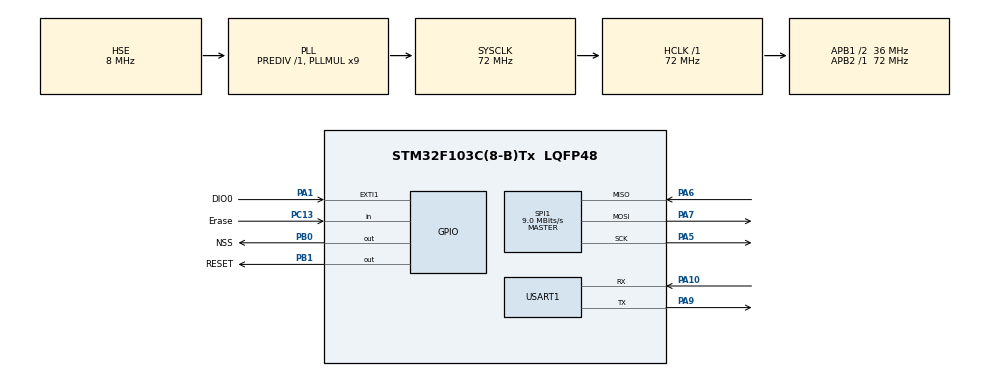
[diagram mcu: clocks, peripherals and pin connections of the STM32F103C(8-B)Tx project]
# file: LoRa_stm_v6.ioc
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Mcu.Family=STM32F1
Mcu.Name=STM32F103C(8-B)Tx
Mcu.Package=LQFP48
NVIC.PriorityGroup=NVIC_PRIORITYGROUP_4
PA1.GPIO_Label=DIO0
PA1.Signal=GPXTI1
PA10.Mode=Asynchronous
PA10.Signal=USART1_RX
PA13.Mode=Serial_Wire
PA13.Signal=SYS_JTMS-SWDIO
PA14.Mode=Serial_Wire
PA14.Signal=SYS_JTCK-SWCLK
PA5.Mode=Full_Duplex_Master
PA5.Signal=SPI1_SCK
PA6.Mode=Full_Duplex_Master
PA6.Signal=SPI1_MISO
PA7.Mode=Full_Duplex_Master
PA7.Signal=SPI1_MOSI
PA9.Mode=Asynchronous
PA9.Signal=USART1_TX
PB0.GPIO_Label=NSS
PB0.PinState=GPIO_PIN_SET
PB0.Signal=GPIO_Output
PB1.GPIO_Label=RESET
PB1.PinState=GPIO_PIN_SET
PB1.Signal=GPIO_Output
PC13-TAMPER-RTC.GPIO_Label=Erase
PC13-TAMPER-RTC.Signal=GPIO_Input
PD0-OSC_IN.Mode=HSE-External-Oscillator
PD0-OSC_IN.Signal=RCC_OSC_IN
PD1-OSC_OUT.Mode=HSE-External-Oscillator
PD1-OSC_OUT.Signal=RCC_OSC_OUT
ProjectManager.HeapSize=0x200
ProjectManager.StackSize=0x400
ProjectManager.TargetToolchain=STM32CubeIDE
RCC.AHBFreq_Value=72000000
RCC.APB1CLKDivider=RCC_HCLK_DIV2
RCC.APB1Freq_Value=36000000
RCC.APB1TimFreq_Value=72000000
RCC.APB2Freq_Value=72000000
RCC.APB2TimFreq_Value=72000000
RCC.HCLKFreq_Value=72000000
RCC.PLLMUL=RCC_PLL_MUL9
RCC.PLLSourceVirtual=RCC_PLLSOURCE_HSE
RCC.SYSCLKFreq_VALUE=72000000
RCC.SYSCLKSource=RCC_SYSCLKSOURCE_PLLCLK
RCC.USBFreq_Value=72000000
SPI1.BaudRatePrescaler=SPI_BAUDRATEPRESCALER_8
SPI1.CalculateBaudRate=9.0 MBits/s
SPI1.Direction=SPI_DIRECTION_2LINES
SPI1.Mode=SPI_MODE_MASTER
SPI1.VirtualType=VM_MASTER
USART1.VirtualMode=VM_ASYNC
board=custom

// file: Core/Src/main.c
/* USER CODE BEGIN Header */
/**
  ******************************************************************************
  * @file           : main.c
  * @brief          : Main program body (clean RX model)
  ******************************************************************************
  * @attention
  *
  * Copyright (c) 2026 STMicroelectronics.
  * All rights reserved.
  *
  ******************************************************************************
  */
/* USER CODE END Header */
#include "main.h"
#include "spi.h"
#include "usart.h"
#include "gpio.h"

/* USER CODE BEGIN Includes */
#include <string.h>
#include <stdio.h>
#include <stdarg.h>
#include "LoRa.h"
#include <stdint.h>
#include <ctype.h>
#include <stdlib.h>
#include "stm32f1xx.h"
#include "stm32f1xx_hal_flash.h"
#include "stm32f1xx_hal_flash_ex.h"
/* USER CODE END Includes */

/* USER CODE BEGIN PTD */
#define FLASH_STORAGE_START  0x0800FC00  // Last 1KB of flash
#define FLASH_MAGIC_NUMBER   0x55AA1234

#define MESH_VERSION          0x01
#define PKT_REQ_ADDRESS       0x01
#define PKT_ACK_ADDRESS       0x02
#define PKT_REQ_DATA          0x03
#define PKT_SENSOR_DATA       0x04
#define PKT_ACK               0x05

#define DUP_CACHE_SIZE        16
#define DBG_BUF_SIZE          128

#define USE_UART

typedef struct __attribute__((packed)) {
    uint32_t magic;          // Validation magic number
    uint32_t counter;        // Persistent counter (we store node id here)
    uint32_t device_id;      // Persistent device ID
    uint32_t checksum;       // Simple checksum
} stored_data_t;

typedef struct __attribute__((packed)) {
  uint8_t  version;
  uint8_t  type;
  uint8_t  src;
  uint8_t  dest;
  uint8_t  ttl;
  uint8_t  flags;
  uint16_t msg_id;
  uint8_t payload_len;
} MeshHeader;

typedef struct {
  uint8_t src;
  uint16_t msg_id;
} SeenPacket;

/* USER CODE END PTD */

/* USER CODE BEGIN PV */
LoRa myLoRa;
uint16_t LoRa_status;
uint32_t uid[3];
uint8_t Master = 1;
int nodeId = 0;
float dp = 1;
float t_in = 2;
float t_out = 3;
float p_header = 4;
float pm = 5;
uint8_t cleaning = 0;
static uint32_t lcg_seed = 0;

uint8_t rxBuf[256];
uint8_t txBuf[256];
char payloadBuf[128];
SeenPacket seenPackets[DUP_CACHE_SIZE];
uint8_t seenIndex = 0;

/* Watchdog variables */
uint32_t lastActivityTime = 0;
uint32_t watchdogTimeout = 30000; // 30 seconds

/* Debug buffer */
static char dbg_buf[DBG_BUF_SIZE];

/* Radio health tracking */
uint8_t radioErrorCount = 0;
uint32_t lastResetTime = 0;

/* USER CODE END PV */

void SystemClock_Config(void);
/* USER CODE BEGIN PFP */
void flash_erase_node_page(void);
uint8_t flash_read_node_id(void);
void flash_save_node_id(uint8_t node_id);
uint32_t calculate_checksum(uint32_t counter, uint32_t device_id);
#ifdef USE_UART
	void printu(const char *msg);
	void print_dbg(const char *format, ...);
	void print_node_id(uint8_t nodeId);
	void print_reset_reason(void);
#endif
void STM32_GetUID(uint32_t uid[3]);
void req_Registration(void);
uint8_t wait_for_ack(uint16_t timeout_ms);
uint8_t LoRa_Transmit_ack(uint8_t type, uint8_t dst, uint8_t src, const char *payload, uint16_t msg_id);
uint8_t LoRa_Transmit(uint8_t type, uint8_t dst, uint8_t src, const char *payload, uint16_t msg_id);
void LoRa_StartPollingnode(void);
void handle_req_data(uint8_t src_id, uint16_t msg_id);
void check_clear_button(void);
uint8_t isDuplicate(uint8_t src, uint16_t msg_id);
void rememberPacket(uint8_t src, uint16_t msg_id);
uint8_t parse_REQ_DATA(const char *rx, uint8_t *dst, uint8_t *src);
void check_radio_health(void);
void reset_watchdog(void);
void check_watchdog(void);
void hard_reset_radio(void);
uint8_t check_radio_status(void);
uint8_t wait_for_tx_complete(void);

static uint32_t lcg_rand(void);
static float rand_range(float min, float max);
/* USER CODE END PFP */

int main(void)
{

  /* MCU Configuration--------------------------------------------------------*/
  HAL_Init();

  lcg_seed = HAL_GetTick();

  /* USER CODE BEGIN Init */
  MX_GPIO_Init();
  MX_SPI1_Init();
  MX_USART1_UART_Init();
  /* USER CODE END Init */

  SystemClock_Config();

  MX_GPIO_Init();
  MX_SPI1_Init();
  MX_USART1_UART_Init();

  /* USER CODE BEGIN 2 */
#ifdef USE_UART
    printu("\r\n\r\n=== SYSTEM START ===\r\n");
#endif
    /* ---------- SX127x RESET ---------- */
    hard_reset_radio();
    HAL_Delay(100);

    /* ---------- INIT LoRa STRUCT ---------- */
    myLoRa = newLoRa();
    myLoRa.CS_port    = NSS_GPIO_Port;
    myLoRa.CS_pin     = NSS_Pin;
    myLoRa.reset_port = RESET_GPIO_Port;
    myLoRa.reset_pin  = RESET_Pin;
    myLoRa.DIO0_port  = DIO0_GPIO_Port;
    myLoRa.DIO0_pin   = DIO0_Pin;
    myLoRa.hSPIx      = &hspi1;

    LoRa_status = LoRa_init(&myLoRa);

    if (LoRa_status != LORA_OK)
    {
#ifdef USE_UART
      printu("LoRa init failed. Retrying...\r\n");
#endif
      hard_reset_radio();
      HAL_Delay(100);

      LoRa_status = LoRa_init(&myLoRa);
      if (LoRa_status != LORA_OK) {
#ifdef USE_UART
          printu("LoRa init failed permanently.\r\n");
#endif
          while (1) {
              check_clear_button();
              HAL_GPIO_TogglePin(GPIOD, GPIO_PIN_2);  // Blink LED to indicate error
              HAL_Delay(500);
          }
      }
    }

    // Configure LoRa parameters to match ESP32 master
    LoRa_setSyncWord(&myLoRa, 0x34);
    LoRa_setSpreadingFactor(&myLoRa, 7);
    LoRa_enableCRC(&myLoRa, 1);

    /* ---------- SAFE FIFO SETUP ---------- */
    LoRa_write(&myLoRa, RegFiFoRxBaseAddr, 0x00);
    LoRa_write(&myLoRa, RegFiFoTxBaseAddr, 0x80);

    /* ---------- START RX (single start) ---------- */
    LoRa_startReceiving(&myLoRa);

#ifdef USE_UART
    printu("✅ LoRa initialized\r\n");
#endif

    // Verify radio configuration
    uint8_t version = LoRa_read(&myLoRa, RegVersion);
#ifdef USE_UART
    print_dbg("Radio Version: 0x%02X\r\n", version);
#endif

    STM32_GetUID(uid);
#ifdef USE_UART
    print_dbg("UID: %08lX-%08lX-%08lX\r\n", uid[0], uid[1], uid[2]);
#endif

    uint8_t saved_node_id = flash_read_node_id();
    if (saved_node_id != 0xFF) {  // 0xFF means invalid/uninitialized
        nodeId = saved_node_id;
#ifdef USE_UART
        print_node_id(nodeId);
#endif
    } else {
#ifdef USE_UART
        printu("No valid Node ID in flash\r\n");
#endif
    }

    reset_watchdog();
    lastResetTime = HAL_GetTick();

  /* USER CODE END 2 */

  /* Infinite loop */
  while (1)
  {
      check_clear_button();
      check_watchdog();

      if(nodeId > 0)
      {
          reset_watchdog();
          LoRa_StartPollingnode();
      }
      else
      {
          req_Registration();
      }

      check_radio_health();
      HAL_Delay(100); // Increased from 10ms to reduce radio mode switching
  }
}

void SystemClock_Config(void)
{
  RCC_OscInitTypeDef RCC_OscInitStruct = {0};
  RCC_ClkInitTypeDef RCC_ClkInitStruct = {0};

  /** Initializes the RCC Oscillators according to the specified parameters
  * in the RCC_OscInitTypeDef structure.
  */
  RCC_OscInitStruct.OscillatorType = RCC_OSCILLATORTYPE_HSE;
  RCC_OscInitStruct.HSEState = RCC_HSE_ON;
  RCC_OscInitStruct.HSEPredivValue = RCC_HSE_PREDIV_DIV1;
  RCC_OscInitStruct.HSIState = RCC_HSI_ON;
  RCC_OscInitStruct.PLL.PLLState = RCC_PLL_ON;
  RCC_OscInitStruct.PLL.PLLSource = RCC_PLLSOURCE_HSE;
  RCC_OscInitStruct.PLL.PLLMUL = RCC_PLL_MUL9;
  if (HAL_RCC_OscConfig(&RCC_OscInitStruct) != HAL_OK)
  {
    Error_Handler();
  }

  /** Initializes the CPU, AHB and APB buses clocks
  */
  RCC_ClkInitStruct.ClockType = RCC_CLOCKTYPE_HCLK|RCC_CLOCKTYPE_SYSCLK
                              |RCC_CLOCKTYPE_PCLK1|RCC_CLOCKTYPE_PCLK2;
  RCC_ClkInitStruct.SYSCLKSource = RCC_SYSCLKSOURCE_PLLCLK;
  RCC_ClkInitStruct.AHBCLKDivider = RCC_SYSCLK_DIV1;
  RCC_ClkInitStruct.APB1CLKDivider = RCC_HCLK_DIV2;
  RCC_ClkInitStruct.APB2CLKDivider = RCC_HCLK_DIV1;

  if (HAL_RCC_ClockConfig(&RCC_ClkInitStruct, FLASH_LATENCY_2) != HAL_OK)
  {
    Error_Handler();
  }
}

/* USER CODE BEGIN 4 */
#ifdef USE_UART
void printu(const char *msg)
{
  HAL_UART_Transmit(&huart1, (uint8_t*)msg, strlen(msg), 200);
}

void print_dbg(const char *format, ...)
{
    va_list args;
    va_start(args, format);
    int len = vsnprintf(dbg_buf, DBG_BUF_SIZE, format, args);
    va_end(args);

    if (len > 0) {
        printu(dbg_buf);
    }
}

void print_node_id(uint8_t nodeId)
{
    char buf[4];   // only 4 bytes on stack
    buf[0] = '0' + (nodeId / 10);
    buf[1] = '0' + (nodeId % 10);
    buf[2] = '\r';
    buf[3] = '\n';

    printu("Node ID: ");
    printu(buf);
}

void print_reset_reason(void)
{
    uint32_t flags = RCC->CSR;
    if(flags & RCC_CSR_LPWRRSTF) {
        printu("Reset Reason: Low Power (Brown-out)\r\n");
    } else if(flags & RCC_CSR_WWDGRSTF) {
        printu("Reset Reason: Window Watchdog\r\n");
    } else if(flags & RCC_CSR_IWDGRSTF) {
        printu("Reset Reason: Independent Watchdog\r\n");
    } else if(flags & RCC_CSR_SFTRSTF) {
        printu("Reset Reason: Software Reset\r\n");
    } else if(flags & RCC_CSR_PORRSTF) {
        printu("Reset Reason: Power-on Reset\r\n");
    } else if(flags & RCC_CSR_PINRSTF) {
        printu("Reset Reason: External Pin Reset\r\n");
    } else {
        printu("Reset Reason: Unknown\r\n");
    }
    RCC->CSR |= RCC_CSR_RMVF;
}
#endif

void STM32_GetUID(uint32_t uid_out[3])
{
    uid_out[0] = *(uint32_t*)0x1FFFF7E8;
    uid_out[1] = *(uint32_t*)0x1FFFF7EC;
    uid_out[2] = *(uint32_t*)0x1FFFF7F0;
}

void reset_watchdog(void) {
    lastActivityTime = HAL_GetTick();
}

void check_watchdog(void) {
    if (HAL_GetTick() - lastActivityTime > watchdogTimeout) {
#ifdef USE_UART
        printu("🔄 Watchdog timeout - Resetting system\r\n");
#endif
        for (int i = 0; i < 5; i++) {
            HAL_GPIO_TogglePin(GPIOD, GPIO_PIN_2);
            HAL_Delay(100);
        }
        NVIC_SystemReset();
    }
}

void hard_reset_radio(void) {
#ifdef USE_UART
    printu("Resetting radio...\r\n");
#endif
    // Hard reset the radio
    HAL_GPIO_WritePin(RESET_GPIO_Port, RESET_Pin, GPIO_PIN_RESET);
    HAL_Delay(10);
    HAL_GPIO_WritePin(RESET_GPIO_Port, RESET_Pin, GPIO_PIN_SET);
    HAL_Delay(100);

    // Ensure NSS is high
    HAL_GPIO_WritePin(NSS_GPIO_Port, NSS_Pin, GPIO_PIN_SET);
    HAL_Delay(10);

    radioErrorCount = 0;
    lastResetTime = HAL_GetTick();
}

void check_radio_health(void) {
    static uint32_t lastCheck = 0;

    if (HAL_GetTick() - lastCheck > 5000) {
        uint8_t version = LoRa_read(&myLoRa, RegVersion);
        if (version != 0x12) {
#ifdef USE_UART
            print_dbg("⚠️ Radio version mismatch: 0x%02X\r\n", version);
#endif
            // Only reset if we've had multiple errors
            if (radioErrorCount++ > 3) {
                hard_reset_radio();
                HAL_Delay(100);
                LoRa_init(&myLoRa);
                LoRa_setSyncWord(&myLoRa, 0x34);
                LoRa_setSpreadingFactor(&myLoRa, 7);
                LoRa_enableCRC(&myLoRa, 1);
                LoRa_startReceiving(&myLoRa);
            }
        } else {
            radioErrorCount = 0; // Reset error count on success
        }
        lastCheck = HAL_GetTick();
    }
}

uint8_t check_radio_status(void) {
    // Check if radio is responding
    uint8_t version = LoRa_read(&myLoRa, RegVersion);
    if (version != 0x12) {
#ifdef USE_UART
        print_dbg("Radio version wrong: 0x%02X\r\n", version);
#endif
        return 0;
    }

    // Check if in a valid mode
    uint8_t op_mode = LoRa_read(&myLoRa, RegOpMode);
    uint8_t mode = op_mode & 0x07;

    // Mode should be 0x01 (STDBY), 0x03 (TX), or 0x05 (RX continuous)
    if (mode != 0x01 && mode != 0x03 && mode != 0x05) {
#ifdef USE_UART
        print_dbg("Radio in wrong mode: 0x%02X\r\n", mode);
#endif
        return 0;
    }

    return 1;
}

uint8_t wait_for_tx_complete(void) {
    uint32_t start = HAL_GetTick();
    while ((HAL_GetTick() - start) < 1000) { // 1 second timeout
        uint8_t irq_flags = LoRa_read(&myLoRa, RegIrqFlags);
        if (irq_flags & 0x08) { // TxDone flag
            LoRa_write(&myLoRa, RegIrqFlags, 0xFF); // Clear all IRQ flags
            return 1;
        }
        HAL_Delay(1);
    }
#ifdef USE_UART
    printu("❌ TX timeout\r\n");
#endif
    return 0;
}

/* ---------------- Registration with MeshHeader -------------- */
void req_Registration(void)
{
    // Create UID string payload
    snprintf(payloadBuf, sizeof(payloadBuf),
             "%08lX-%08lX-%08lX",
             uid[0], uid[1], uid[2]);

    // Go to standby before CAD/TX
    LoRa_gotoMode(&myLoRa, STNBY_MODE);
    HAL_Delay(2);

    // Optional CAD check
    uint8_t cadResult = LoRa_performCAD(&myLoRa, 100);
    if(cadResult == 0)
    {
        // Send registration request with MeshHeader
    	LoRa_Transmit_ack(PKT_REQ_ADDRESS, 0xFF, 0, payloadBuf, lcg_rand() & 0xFFFF);
        printu("📤 Sent registration request with MeshHeader\r\n");

        // Return to RX mode
        LoRa_startReceiving(&myLoRa);

        // Wait for ACK with MeshHeader
        uint8_t ack = wait_for_ack(5000);

        if (ack != 0xFF) {
            return;
        }
    }
    else
    {
        printu("Skipped registration, channel busy\r\n");
        LoRa_startReceiving(&myLoRa);
    }
}

/* ---------------- Wait for ACK with MeshHeader ---------------- */
uint8_t wait_for_ack(uint16_t timeout_ms)
{
    printu("⌛ Waiting for ACK...\r\n");
    uint32_t start = HAL_GetTick();

    while ((HAL_GetTick() - start) < timeout_ms)
    {
        uint8_t len = LoRa_receive(&myLoRa, rxBuf, sizeof(rxBuf) - 1);
        if (len > 0)
        {
            // Check if we have enough bytes for a header
            if (len < sizeof(MeshHeader)) {
                continue;
            }

            MeshHeader *hdr = (MeshHeader *)rxBuf;

            // Check version
            if (hdr->version != MESH_VERSION) {
                printu("❌ Wrong protocol version\r\n");
                continue;
            }

            // Check packet type
            if (hdr->type != PKT_ACK_ADDRESS) {
                continue;  // Not an ACK_ADDRESS packet
            }

            // Check duplicate
            if (isDuplicate(hdr->src, hdr->msg_id)) {
                printu("🛑 Duplicate packet\r\n");
                continue;
            }

            // Remember this packet
            rememberPacket(hdr->src, hdr->msg_id);

            // Extract payload (starts after header)
            uint8_t payloadStart = sizeof(MeshHeader);
            uint8_t payloadLen = hdr->payload_len;

            if (payloadLen > (len - payloadStart)) {
                payloadLen = len - payloadStart;
            }

            if (payloadLen > 0) {
                memcpy(payloadBuf, &rxBuf[payloadStart], payloadLen);
                payloadBuf[payloadLen] = '\0';
            } else {
                payloadBuf[0] = '\0';
            }

            printu("📥 Received ACK_ADDRESS packet\r\n");

            // Parse payload: format is "UID|nodeId"
            uint32_t r_uid0 = 0, r_uid1 = 0, r_uid2 = 0;
            unsigned int assignedId = 0;

            int parsed = sscanf(payloadBuf,
                                "%08lX-%08lX-%08lX|%u",
                                &r_uid0, &r_uid1, &r_uid2,
                                &assignedId);

            if (parsed == 4)
            {
                if (r_uid0 == uid[0] && r_uid1 == uid[1] && r_uid2 == uid[2])
                {
                    nodeId = (int)assignedId;
                    char msg[50];
                    sprintf(msg, "✅ Node ID assigned: %02d\r\n", nodeId);
                    printu(msg);

                    // Send ACK back to confirm
                    LoRa_Transmit_ack(PKT_ACK, Master, nodeId, "", hdr->msg_id);

                    if (nodeId > 0) {
                        //flash_save_node_id(nodeId);
                        printu("Node ID saved to flash\r\n");
                    }

                    return (uint8_t)nodeId;
                } else {
                    printu("❌ UID mismatch in ACK\r\n");
                }
            } else {
                printu("❌ ACK parse failed\r\n");
            }
        }
        HAL_Delay(2);
    }

    printu("⏱️ Timeout waiting for ACK\r\n");
    return 0xFF;
}

/* -------------- Transmit with MeshHeader ------------- */
uint8_t LoRa_Transmit_ack(uint8_t type, uint8_t dst, uint8_t src, const char *payload, uint16_t msg_id)
{
    MeshHeader hdr;
    uint8_t payload_len = payload ? strlen(payload) : 0;
    uint16_t total_len = sizeof(MeshHeader) + payload_len;

    hdr.version = MESH_VERSION;
    hdr.type = type;
    hdr.src = src;
    hdr.dest = dst;
    hdr.ttl = 5;
    hdr.flags = 0;
    hdr.msg_id = msg_id;
    hdr.payload_len = payload_len;

    // Ensure radio in standby before TX
    LoRa_gotoMode(&myLoRa, STNBY_MODE);
    HAL_Delay(2);

    // Print debug info
    char dbg[80];
    sprintf(dbg, "📤 TX: type=%d, dst=%d, src=%d, msg_id=%d\r\n",
            type, dst, src, msg_id);
    printu(dbg);

    if (payload_len > 0) {
        sprintf(dbg, "    Payload: %s\r\n", payload);
        printu(dbg);
    }

    // Build complete packet in txBuf
    memcpy(txBuf, &hdr, sizeof(MeshHeader));
    if (payload_len > 0) {
        memcpy(txBuf + sizeof(MeshHeader), payload, payload_len);
    }

    // Transmit using existing LoRa library function
    uint16_t tx = LoRa_transmit(&myLoRa, txBuf, total_len, 2000);

    // After TX, resume RX
    LoRa_startReceiving(&myLoRa);

    return (tx == 1) ? 1 : 0;
}
uint8_t LoRa_Transmit(uint8_t type, uint8_t dst, uint8_t src, const char *payload, uint16_t msg_id)
{
    MeshHeader hdr;
    uint8_t payload_len = payload ? strlen(payload) : 0;
    uint16_t total_len = sizeof(MeshHeader) + payload_len;

    // Validate length
    if (total_len > sizeof(txBuf)) {
#ifdef USE_UART
        printu("❌ TX error: Packet too large\r\n");
#endif
        return 0;
    }

    // Build header
    hdr.version = MESH_VERSION;
    hdr.type = type;
    hdr.src = src;
    hdr.dest = dst;
    hdr.ttl = 5;
    hdr.flags = 0;
    hdr.msg_id = msg_id;
    hdr.payload_len = payload_len;

    // Build complete packet
    memcpy(txBuf, &hdr, sizeof(MeshHeader));
    if (payload_len > 0) {
        memcpy(txBuf + sizeof(MeshHeader), payload, payload_len);
    }

    // Check radio status before attempting transmission
    if (!check_radio_status()) {
#ifdef USE_UART
        printu("⚠️ Radio not ready, resetting...\r\n");
#endif
        hard_reset_radio();
        HAL_Delay(100);
        LoRa_init(&myLoRa);
        LoRa_setSyncWord(&myLoRa, 0x34);
        LoRa_setSpreadingFactor(&myLoRa, 7);
        LoRa_startReceiving(&myLoRa);
        HAL_Delay(100);

        // Check again
        if (!check_radio_status()) {
#ifdef USE_UART
            printu("❌ Radio still not ready after reset\r\n");
#endif
            return 0;
        }
    }

    // Ensure radio is in standby mode for TX
    LoRa_gotoMode(&myLoRa, STNBY_MODE);
    HAL_Delay(50);

    // Clear any pending IRQ flags
    LoRa_write(&myLoRa, RegIrqFlags, 0xFF);

    // Print debug info
#ifdef USE_UART
    print_dbg("📤 TX: type=%d, dst=%d, src=%d, msg_id=%d, len=%d\r\n",
              type, dst, src, msg_id, total_len);

    if (payload_len > 0 && payload_len < 50) {
        print_dbg("    Payload: %s\r\n", payload);
    }
#endif

    // Transmit with timeout
    uint16_t tx_result = LoRa_transmit(&myLoRa, txBuf, total_len, 2000);

    if (tx_result == 1) {
        // Wait for TxDone
        if (wait_for_tx_complete()) {
#ifdef USE_UART
            printu("✅ TX successful\r\n");
#endif
            radioErrorCount = 0; // Reset error count on success

            // Return to RX mode
            LoRa_startReceiving(&myLoRa);
            HAL_Delay(10);
            return 1;
        } else {
#ifdef USE_UART
            printu("❌ TX did not complete\r\n");
#endif
            tx_result = 0;
        }
    }

    if (tx_result == 0) {
#ifdef USE_UART
        printu("❌ TX failed\r\n");
#endif
        radioErrorCount++;

        // If we have multiple consecutive errors, hard reset
        if (radioErrorCount > 5) {
#ifdef USE_UART
            printu("⚠️ Multiple TX failures, resetting radio...\r\n");
#endif
            hard_reset_radio();
            HAL_Delay(100);
            LoRa_init(&myLoRa);
            LoRa_setSyncWord(&myLoRa, 0x34);
            LoRa_setSpreadingFactor(&myLoRa, 7);
            LoRa_startReceiving(&myLoRa);
        } else {
            // Soft recovery: restart RX mode
            LoRa_startReceiving(&myLoRa);
        }
    }
    return 0;
}
/* ---------- Main polling function with MeshHeader ---------- */
void LoRa_StartPollingnode(void)
{
    uint8_t len;
    static uint32_t lastModeCheck = 0;

    if (nodeId == 0)
        return;

    // Periodically check radio mode (less frequently)
    if (HAL_GetTick() - lastModeCheck > 10000) { // Every 10 seconds
        uint8_t op_mode = LoRa_read(&myLoRa, RegOpMode);
        uint8_t current_mode = op_mode & 0x07;

        if (current_mode != 0x05) { // Not in receive continuous mode
#ifdef USE_UART
            printu("🔄 Restarting RX mode\r\n");
#endif
            LoRa_startReceiving(&myLoRa);
        }
        lastModeCheck = HAL_GetTick();
    }

    len = LoRa_receive(&myLoRa, rxBuf, sizeof(rxBuf) - 1);

    if (len > 0)
    {
        reset_watchdog(); // Reset watchdog on activity

        // Check if we have enough bytes for a header
        if (len < sizeof(MeshHeader)) {
            return;
        }

        MeshHeader *hdr = (MeshHeader *)rxBuf;

        // Check version
        if (hdr->version != MESH_VERSION) {
            return;
        }

        // Check if packet is for us (or broadcast 0xFF)
        if (hdr->dest != nodeId && hdr->dest != 0xFF) {
            return;
        }

        // Check duplicate
        if (isDuplicate(hdr->src, hdr->msg_id)) {
            return;
        }

        // Remember this packet
        rememberPacket(hdr->src, hdr->msg_id);

        // Extract payload
        uint8_t payloadStart = sizeof(MeshHeader);
        uint8_t payloadLen = hdr->payload_len;

        if (payloadLen > (len - payloadStart)) {
            payloadLen = len - payloadStart;
        }

        if (payloadLen > 0) {
            memcpy(payloadBuf, &rxBuf[payloadStart], payloadLen);
            payloadBuf[payloadLen] = '\0';
        } else {
            payloadBuf[0] = '\0';
        }

#ifdef USE_UART
        print_dbg("📥 RX: type=%d, src=%d, dst=%d, msg_id=%d\r\n",
                hdr->type, hdr->src, hdr->dest, hdr->msg_id);

        if (payloadLen > 0 && payloadLen < 100) {
            print_dbg("    Payload: %s\r\n", payloadBuf);
        }
#endif

        switch (hdr->type) {
            case PKT_REQ_DATA:
#ifdef USE_UART
                printu("✅ REQ_DATA received\r\n");
#endif
                // Send ACK immediately
                LoRa_Transmit(PKT_ACK, hdr->src, nodeId, "", hdr->msg_id);

                // Small delay before sending data
                HAL_Delay(50);

                // Send sensor data
                handle_req_data(hdr->src, hdr->msg_id); // Use the same msg_id for response
                break;

            case PKT_ACK:
#ifdef USE_UART
                printu("✅ ACK received\r\n");
#endif
                // RSSI reading
                if (len >= sizeof(MeshHeader)) {
                    int8_t rssi = LoRa_getRSSI(&myLoRa);
#ifdef USE_UART
                    print_dbg("    RSSI: %d dBm\r\n", rssi);
#endif
                }
                break;

            default:
                break;
        }

        // Only print RSSI for non-ACK packets
        if (hdr->type != PKT_ACK && len >= sizeof(MeshHeader)) {
            int8_t rssi = LoRa_getRSSI(&myLoRa);
#ifdef USE_UART
            print_dbg("    RSSI: %d dBm\r\n", rssi);
#endif
        }
    }
}

/* ---------- Handle REQ_DATA with MeshHeader ---------- */
void handle_req_data(uint8_t src_id, uint16_t msg_id)
{
    // Generate random sensor values
    dp       = rand_range(1200.0f, 1300.0f);
    t_in     = rand_range(10.0f, 20.0f);
    t_out    = rand_range(170.0f, 190.0f);
    p_header = rand_range(55.0f, 65.0f);
    pm       = rand_range(10.0f, 15.0f);
    cleaning = (lcg_rand() % 2) ? 1 : 0;

    // Format sensor data
    snprintf(payloadBuf, sizeof(payloadBuf),
             "%.1f,%.1f,%.1f,%.1f,%.1f,%d",
             dp, t_in, t_out, p_header, pm, cleaning);

    // Send sensor data with MeshHeader - using the SAME msg_id as the request
    LoRa_Transmit(PKT_SENSOR_DATA, src_id, nodeId, payloadBuf, msg_id);
}

/* ==================== FLASH STORAGE FOR NODE ID ==================== */

void flash_erase_node_page(void) {
    HAL_FLASH_Unlock();

    FLASH_EraseInitTypeDef erase = {0};
    erase.TypeErase = FLASH_TYPEERASE_PAGES;
    erase.PageAddress = FLASH_STORAGE_START;
    erase.NbPages = 1;  // 1KB page for F103

    uint32_t page_error = 0;
    HAL_FLASHEx_Erase(&erase, &page_error);

    HAL_FLASH_Lock();
}

uint8_t flash_read_node_id(void) {
    stored_data_t* data = (stored_data_t*)FLASH_STORAGE_START;

    if (data->magic == FLASH_MAGIC_NUMBER &&
        data->checksum == calculate_checksum(data->counter, data->device_id)) {

        if (data->counter <= 99 && data->counter != 0) {
            return (uint8_t)data->counter;
        }
    }
    return 0xFF;  // Invalid or no data
}

void flash_save_node_id(uint8_t node_id) {
    stored_data_t data;

    uint32_t device_id = (uid[0] ^ uid[1] ^ uid[2]) & 0x00FFFFFF;

    data.magic = FLASH_MAGIC_NUMBER;
    data.counter = node_id;           // Store node ID in counter field
    data.device_id = device_id;       // Store device ID
    data.checksum = calculate_checksum(data.counter, data.device_id);

    flash_erase_node_page();

    HAL_FLASH_Unlock();

    uint8_t* data_ptr = (uint8_t*)&data;
    for (uint32_t i = 0; i < sizeof(data); i += 4) {
        HAL_FLASH_Program(FLASH_TYPEPROGRAM_WORD,
                         FLASH_STORAGE_START + i,
                         *(uint32_t*)(data_ptr + i));
    }

    HAL_FLASH_Lock();

    uint8_t verify_id = flash_read_node_id();
    if (verify_id != node_id) {
#ifdef USE_UART
        printu("Flash write verification failed!\r\n");
#endif
    } else {
#ifdef USE_UART
        print_dbg("Node ID %02d saved\r\n", node_id);
#endif
    }
}

uint32_t calculate_checksum(uint32_t counter, uint32_t device_id) {
    return counter ^ device_id ^ 0xDEADBEEF;
}

void check_clear_button(void) {
    static uint32_t press_start_time = 0;
    static uint8_t is_clearing = 0;

    if (HAL_GPIO_ReadPin(Erase_GPIO_Port, Erase_Pin) == GPIO_PIN_RESET) {
        if (press_start_time == 0) {
            press_start_time = HAL_GetTick();
#ifdef USE_UART
            printu("[Button pressed - hold for 3s to clear]\r\n");
#endif
        }
        else if (!is_clearing && (HAL_GetTick() - press_start_time) > 3000) {
            is_clearing = 1;
            //flash_clear_storage();
            while (HAL_GPIO_ReadPin(Erase_GPIO_Port, Erase_Pin) == GPIO_PIN_RESET) {
                HAL_Delay(10);
            }
            is_clearing = 0;
        }
    }
    else {
        if (press_start_time != 0 && !is_clearing) {
            uint32_t press_duration = HAL_GetTick() - press_start_time;
            if (press_duration < 3000) {
#ifdef USE_UART
                print_dbg("[Button released after %lums]\r\n", press_duration);
#endif
            }
        }
        press_start_time = 0;
    }
}

/* ---------- Simple REQ_DATA parser used by RX polling ---------- */
uint8_t parse_REQ_DATA(const char *rx, uint8_t *dst, uint8_t *src)
{
    if (strstr(rx, "REQ_DATA") == NULL)
        return 0;

    if (!(rx[0] >= '0' && rx[0] <= '9' &&
          rx[1] >= '0' && rx[1] <= '9'))
        return 0;

    *dst = (rx[0] - '0') * 10 + (rx[1] - '0');

    const char *p = strchr(rx, '|');
    if (!p) return 0;

    p++;
    while (*p == ' ') p++;

    if (!(p[0] >= '0' && p[0] <= '9' &&
          p[1] >= '0' && p[1] <= '9'))
        return 0;

    *src = (p[0] - '0') * 10 + (p[1] - '0');

    return 1;
}

/* ---------- Duplicate Suppression ---------- */
uint8_t isDuplicate(uint8_t src, uint16_t msg_id)
{
  for (uint8_t i = 0; i < DUP_CACHE_SIZE; i++)
  {
    if (seenPackets[i].src == src &&
        seenPackets[i].msg_id == msg_id)
    {
      return 1;
    }
  }
  return 0;
}

void rememberPacket(uint8_t src, uint16_t msg_id)
{
  seenPackets[seenIndex].src = src;
  seenPackets[seenIndex].msg_id = msg_id;

  seenIndex++;
  if (seenIndex >= DUP_CACHE_SIZE)
    seenIndex = 0;
}

static uint32_t lcg_rand(void)
{
    lcg_seed = (1103515245 * lcg_seed + 12345);
    return (lcg_seed >> 16) & 0x7FFF;
}

static float rand_range(float min, float max)
{
    return min + ((float)lcg_rand() / 32767.0f) * (max - min);
}
/* USER CODE END 4 */

void Error_Handler(void)
{
  __disable_irq();
  while (1)
  {
  }
}
